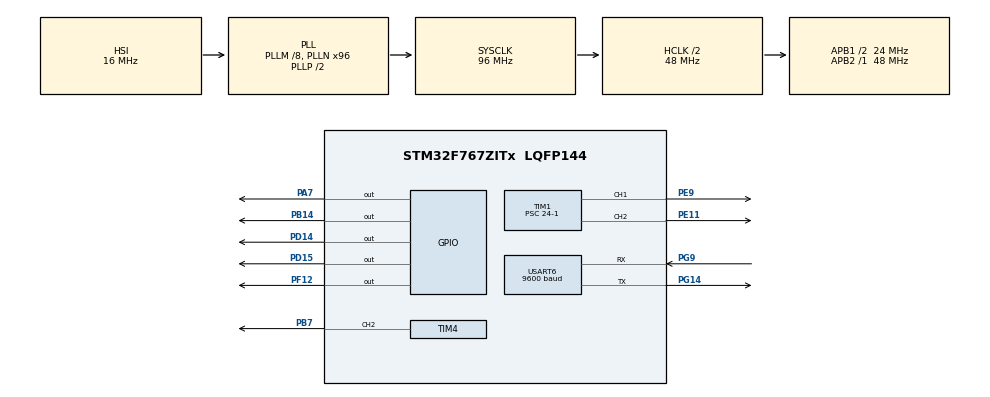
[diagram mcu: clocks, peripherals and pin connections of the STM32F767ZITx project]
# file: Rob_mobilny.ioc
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Mcu.Family=STM32F7
Mcu.Name=STM32F767ZITx
Mcu.Package=LQFP144
NVIC.PriorityGroup=NVIC_PRIORITYGROUP_4
NVIC.TIM1_CC_IRQn=true\:0\:0\:false\:false\:true\:true\:true
NVIC.TIM4_IRQn=true\:0\:0\:false\:false\:true\:true\:true
NVIC.USART6_IRQn=true\:0\:0\:false\:false\:true\:true\:true
PA7.Signal=GPIO_Output
PB14.Signal=GPIO_Output
PB7.GPIO_Speed=GPIO_SPEED_FREQ_HIGH
PB7.Signal=S_TIM4_CH2
PD14.Signal=GPIO_Output
PD15.Signal=GPIO_Output
PE11.GPIO_Speed=GPIO_SPEED_FREQ_HIGH
PE11.Signal=S_TIM1_CH2
PE9.GPIO_Speed=GPIO_SPEED_FREQ_HIGH
PE9.Signal=S_TIM1_CH1
PF12.Signal=GPIO_Output
PG14.Mode=Asynchronous
PG14.Signal=USART6_TX
PG9.Mode=Asynchronous
PG9.Signal=USART6_RX
ProjectManager.HeapSize=0x200
ProjectManager.StackSize=0x400
ProjectManager.TargetToolchain=SW4STM32
RCC.AHBCLKDivider=RCC_SYSCLK_DIV2
RCC.AHBFreq_Value=48000000
RCC.APB1CLKDivider=RCC_HCLK_DIV2
RCC.APB1Freq_Value=24000000
RCC.APB1TimFreq_Value=48000000
RCC.APB2Freq_Value=48000000
RCC.APB2TimFreq_Value=48000000
RCC.CortexFreq_Value=48000000
RCC.HCLKFreq_Value=48000000
RCC.HSE_VALUE=25000000
RCC.HSI_VALUE=16000000
RCC.LSE_VALUE=32768
RCC.PLLM=8
RCC.PLLN=96
RCC.SYSCLKFreq_VALUE=96000000
RCC.SYSCLKSource=RCC_SYSCLKSOURCE_PLLCLK
RCC.USBFreq_Value=96000000
RCC.VCOOutputFreq_Value=192000000
SH.S_TIM1_CH1.0=TIM1_CH1,PWM Generation1 CH1
SH.S_TIM1_CH2.0=TIM1_CH2,PWM Generation2 CH2
SH.S_TIM4_CH2.0=TIM4_CH2,PWM Generation2 CH2
TIM1.Channel-PWM\ Generation1\ CH1=TIM_CHANNEL_1
TIM1.Channel-PWM\ Generation2\ CH2=TIM_CHANNEL_2
TIM1.OCFastMode_PWM-PWM\ Generation1\ CH1=TIM_OCFAST_ENABLE
TIM1.OCFastMode_PWM-PWM\ Generation2\ CH2=TIM_OCFAST_ENABLE
TIM1.Period=200-1
TIM1.Prescaler=24-1
TIM4.Channel-PWM\ Generation2\ CH2=TIM_CHANNEL_2
TIM4.OCFastMode_PWM-PWM\ Generation2\ CH2=TIM_OCFAST_ENABLE
TIM4.Period=1000-1
TIM4.Prescaler=48000-1
USART6.BaudRate=9600
USART6.VirtualMode-Asynchronous=VM_ASYNC
USART6.WordLength=WORDLENGTH_8B
VP_TIM1_VS_ClockSourceINT.Mode=Internal
VP_TIM4_VS_ClockSourceINT.Mode=Internal
board=custom

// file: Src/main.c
/* USER CODE BEGIN Header */
/**
  ******************************************************************************
  * @file           : main.c
  * @brief          : Main program body
  ******************************************************************************
  * @attention
  *
  * <h2><center>&copy; Copyright (c) 2019 STMicroelectronics.
  * All rights reserved.</center></h2>
  *
  * This software component is licensed by ST under BSD 3-Clause license,
  * the "License"; You may not use this file except in compliance with the
  * License. You may obtain a copy of the License at:
  *                        opensource.org/licenses/BSD-3-Clause
  *
  ******************************************************************************
  */
/* USER CODE END Header */

#include "main.h"
#include <stdlib.h>
#include <string.h>

/* USER CODE BEGIN Includes */
#include "stm32f7xx_hal.h"
#include <stdlib.h>
#include <string.h>
#include <stdio.h>
/* USER CODE END Includes */

TIM_HandleTypeDef htim1;
TIM_HandleTypeDef htim4;

UART_HandleTypeDef huart6;

/* USER CODE BEGIN PV */
char rx_comand[10];
uint8_t rx_buff[2];
int rx_index=0;

int initper;
uint8_t LED_Pulse=50;

char flag_L_R;
char L_motor[5];
uint8_t L_elem;
char R_motor[5];
uint8_t R_elem;
int L_motor_at;
int R_motor_at;

static uint8_t i=0;

extern uint8_t LED_Pulse;
extern uint8_t LMot_Pulse;

/* USER CODE END PV */

void SystemClock_Config(void);
static void MX_GPIO_Init(void);
static void MX_GFXSIMULATOR_Init(void);
static void MX_TIM1_Init(void);
static void MX_TIM4_Init(void);
static void MX_USART6_UART_Init(void);
/* USER CODE BEGIN PFP */
void Control(int PWMLeft, int PWMRight, int init_period);

/* USER CODE END PFP */

/* USER CODE BEGIN 0 */
void HAL_TIM_PeriodElapsedCallback(TIM_HandleTypeDef*htim)
{
	if(htim->Instance==TIM4)
	{
		HAL_GPIO_TogglePin(GPIOB, GPIO_PIN_14);
	}
}

/* USER CODE END 0 */

int main(void)
{

  /* MCU Configuration--------------------------------------------------------*/

  /* Reset of all peripherals, Initializes the Flash interface and the Systick. */
  HAL_Init();

  /* Configure the system clock */
  SystemClock_Config();

  /* Initialize all configured peripherals */
  MX_GPIO_Init();
  MX_GFXSIMULATOR_Init();
  MX_TIM1_Init();
  MX_TIM4_Init();
  MX_USART6_UART_Init();
  /* USER CODE BEGIN 2 */
  HAL_TIM_Base_Start_IT(&htim1);
  HAL_TIM_Base_Start_IT(&htim4);

  HAL_TIM_PWM_Start(&htim1,TIM_CHANNEL_1);
  HAL_TIM_PWM_Start(&htim1,TIM_CHANNEL_2);
  HAL_TIM_PWM_Start(&htim4,TIM_CHANNEL_2);
  initper =htim1.Init.Period;
  HAL_UART_Receive_IT(&huart6, rx_buff, 1);

  /* USER CODE END 2 */

  /* Infinite loop */
  while (1)
  {

    /* USER CODE BEGIN 3 */
	  i++;

	  //HAL_UART_Transmit(&huart6, data1, 10,1000);
  }
  /* USER CODE END 3 */
}

void SystemClock_Config(void)
{
  RCC_OscInitTypeDef RCC_OscInitStruct = {0};
  RCC_ClkInitTypeDef RCC_ClkInitStruct = {0};
  RCC_PeriphCLKInitTypeDef PeriphClkInitStruct = {0};

  /** Configure the main internal regulator output voltage
  */
  __HAL_RCC_PWR_CLK_ENABLE();
  __HAL_PWR_VOLTAGESCALING_CONFIG(PWR_REGULATOR_VOLTAGE_SCALE3);
  /** Initializes the CPU, AHB and APB busses clocks
  */
  RCC_OscInitStruct.OscillatorType = RCC_OSCILLATORTYPE_HSI;
  RCC_OscInitStruct.HSIState = RCC_HSI_ON;
  RCC_OscInitStruct.HSICalibrationValue = RCC_HSICALIBRATION_DEFAULT;
  RCC_OscInitStruct.PLL.PLLState = RCC_PLL_ON;
  RCC_OscInitStruct.PLL.PLLSource = RCC_PLLSOURCE_HSI;
  RCC_OscInitStruct.PLL.PLLM = 8;
  RCC_OscInitStruct.PLL.PLLN = 96;
  RCC_OscInitStruct.PLL.PLLP = RCC_PLLP_DIV2;
  RCC_OscInitStruct.PLL.PLLQ = 2;
  if (HAL_RCC_OscConfig(&RCC_OscInitStruct) != HAL_OK)
  {
    Error_Handler();
  }
  /** Initializes the CPU, AHB and APB busses clocks
  */
  RCC_ClkInitStruct.ClockType = RCC_CLOCKTYPE_HCLK|RCC_CLOCKTYPE_SYSCLK
                              |RCC_CLOCKTYPE_PCLK1|RCC_CLOCKTYPE_PCLK2;
  RCC_ClkInitStruct.SYSCLKSource = RCC_SYSCLKSOURCE_PLLCLK;
  RCC_ClkInitStruct.AHBCLKDivider = RCC_SYSCLK_DIV2;
  RCC_ClkInitStruct.APB1CLKDivider = RCC_HCLK_DIV2;
  RCC_ClkInitStruct.APB2CLKDivider = RCC_HCLK_DIV1;

  if (HAL_RCC_ClockConfig(&RCC_ClkInitStruct, FLASH_LATENCY_1) != HAL_OK)
  {
    Error_Handler();
  }
  PeriphClkInitStruct.PeriphClockSelection = RCC_PERIPHCLK_USART6;
  PeriphClkInitStruct.Usart6ClockSelection = RCC_USART6CLKSOURCE_PCLK2;
  if (HAL_RCCEx_PeriphCLKConfig(&PeriphClkInitStruct) != HAL_OK)
  {
    Error_Handler();
  }
}

static void MX_GFXSIMULATOR_Init(void)
{

}

static void MX_TIM1_Init(void)
{

  TIM_ClockConfigTypeDef sClockSourceConfig = {0};
  TIM_MasterConfigTypeDef sMasterConfig = {0};
  TIM_OC_InitTypeDef sConfigOC = {0};
  TIM_BreakDeadTimeConfigTypeDef sBreakDeadTimeConfig = {0};

  htim1.Instance = TIM1;
  htim1.Init.Prescaler = 24-1;
  htim1.Init.CounterMode = TIM_COUNTERMODE_UP;
  htim1.Init.Period = 200-1;
  htim1.Init.ClockDivision = TIM_CLOCKDIVISION_DIV1;
  htim1.Init.RepetitionCounter = 0;
  htim1.Init.AutoReloadPreload = TIM_AUTORELOAD_PRELOAD_DISABLE;
  if (HAL_TIM_Base_Init(&htim1) != HAL_OK)
  {
    Error_Handler();
  }
  sClockSourceConfig.ClockSource = TIM_CLOCKSOURCE_INTERNAL;
  if (HAL_TIM_ConfigClockSource(&htim1, &sClockSourceConfig) != HAL_OK)
  {
    Error_Handler();
  }
  if (HAL_TIM_PWM_Init(&htim1) != HAL_OK)
  {
    Error_Handler();
  }
  sMasterConfig.MasterOutputTrigger = TIM_TRGO_RESET;
  sMasterConfig.MasterOutputTrigger2 = TIM_TRGO2_RESET;
  sMasterConfig.MasterSlaveMode = TIM_MASTERSLAVEMODE_DISABLE;
  if (HAL_TIMEx_MasterConfigSynchronization(&htim1, &sMasterConfig) != HAL_OK)
  {
    Error_Handler();
  }
  sConfigOC.OCMode = TIM_OCMODE_PWM1;
  sConfigOC.Pulse = 0;
  sConfigOC.OCPolarity = TIM_OCPOLARITY_HIGH;
  sConfigOC.OCNPolarity = TIM_OCNPOLARITY_HIGH;
  sConfigOC.OCFastMode = TIM_OCFAST_ENABLE;
  sConfigOC.OCIdleState = TIM_OCIDLESTATE_RESET;
  sConfigOC.OCNIdleState = TIM_OCNIDLESTATE_RESET;
  if (HAL_TIM_PWM_ConfigChannel(&htim1, &sConfigOC, TIM_CHANNEL_1) != HAL_OK)
  {
    Error_Handler();
  }
  if (HAL_TIM_PWM_ConfigChannel(&htim1, &sConfigOC, TIM_CHANNEL_2) != HAL_OK)
  {
    Error_Handler();
  }
  sBreakDeadTimeConfig.OffStateRunMode = TIM_OSSR_DISABLE;
  sBreakDeadTimeConfig.OffStateIDLEMode = TIM_OSSI_DISABLE;
  sBreakDeadTimeConfig.LockLevel = TIM_LOCKLEVEL_OFF;
  sBreakDeadTimeConfig.DeadTime = 0;
  sBreakDeadTimeConfig.BreakState = TIM_BREAK_DISABLE;
  sBreakDeadTimeConfig.BreakPolarity = TIM_BREAKPOLARITY_HIGH;
  sBreakDeadTimeConfig.BreakFilter = 0;
  sBreakDeadTimeConfig.Break2State = TIM_BREAK2_DISABLE;
  sBreakDeadTimeConfig.Break2Polarity = TIM_BREAK2POLARITY_HIGH;
  sBreakDeadTimeConfig.Break2Filter = 0;
  sBreakDeadTimeConfig.AutomaticOutput = TIM_AUTOMATICOUTPUT_DISABLE;
  if (HAL_TIMEx_ConfigBreakDeadTime(&htim1, &sBreakDeadTimeConfig) != HAL_OK)
  {
    Error_Handler();
  }
  HAL_TIM_MspPostInit(&htim1);

}

static void MX_TIM4_Init(void)
{

  TIM_ClockConfigTypeDef sClockSourceConfig = {0};
  TIM_MasterConfigTypeDef sMasterConfig = {0};
  TIM_OC_InitTypeDef sConfigOC = {0};

  htim4.Instance = TIM4;
  htim4.Init.Prescaler = 48000-1;
  htim4.Init.CounterMode = TIM_COUNTERMODE_UP;
  htim4.Init.Period = 1000-1;
  htim4.Init.ClockDivision = TIM_CLOCKDIVISION_DIV1;
  htim4.Init.AutoReloadPreload = TIM_AUTORELOAD_PRELOAD_DISABLE;
  if (HAL_TIM_Base_Init(&htim4) != HAL_OK)
  {
    Error_Handler();
  }
  sClockSourceConfig.ClockSource = TIM_CLOCKSOURCE_INTERNAL;
  if (HAL_TIM_ConfigClockSource(&htim4, &sClockSourceConfig) != HAL_OK)
  {
    Error_Handler();
  }
  if (HAL_TIM_PWM_Init(&htim4) != HAL_OK)
  {
    Error_Handler();
  }
  sMasterConfig.MasterOutputTrigger = TIM_TRGO_RESET;
  sMasterConfig.MasterSlaveMode = TIM_MASTERSLAVEMODE_DISABLE;
  if (HAL_TIMEx_MasterConfigSynchronization(&htim4, &sMasterConfig) != HAL_OK)
  {
    Error_Handler();
  }
  sConfigOC.OCMode = TIM_OCMODE_PWM1;
  sConfigOC.Pulse = 0;
  sConfigOC.OCPolarity = TIM_OCPOLARITY_HIGH;
  sConfigOC.OCFastMode = TIM_OCFAST_ENABLE;
  if (HAL_TIM_PWM_ConfigChannel(&htim4, &sConfigOC, TIM_CHANNEL_2) != HAL_OK)
  {
    Error_Handler();
  }
  HAL_TIM_MspPostInit(&htim4);

}

static void MX_USART6_UART_Init(void)
{

  huart6.Instance = USART6;
  huart6.Init.BaudRate = 9600;
  huart6.Init.WordLength = UART_WORDLENGTH_8B;
  huart6.Init.StopBits = UART_STOPBITS_1;
  huart6.Init.Parity = UART_PARITY_NONE;
  huart6.Init.Mode = UART_MODE_TX_RX;
  huart6.Init.HwFlowCtl = UART_HWCONTROL_NONE;
  huart6.Init.OverSampling = UART_OVERSAMPLING_16;
  huart6.Init.OneBitSampling = UART_ONE_BIT_SAMPLE_DISABLE;
  huart6.AdvancedInit.AdvFeatureInit = UART_ADVFEATURE_NO_INIT;
  if (HAL_UART_Init(&huart6) != HAL_OK)
  {
    Error_Handler();
  }

}

static void MX_GPIO_Init(void)
{
  GPIO_InitTypeDef GPIO_InitStruct = {0};

  /* GPIO Ports Clock Enable */
  __HAL_RCC_GPIOA_CLK_ENABLE();
  __HAL_RCC_GPIOF_CLK_ENABLE();
  __HAL_RCC_GPIOE_CLK_ENABLE();
  __HAL_RCC_GPIOB_CLK_ENABLE();
  __HAL_RCC_GPIOD_CLK_ENABLE();
  __HAL_RCC_GPIOG_CLK_ENABLE();

  /*Configure GPIO pin Output Level */
  HAL_GPIO_WritePin(GPIOA, GPIO_PIN_7, GPIO_PIN_RESET);

  /*Configure GPIO pin Output Level */
  HAL_GPIO_WritePin(GPIOF, GPIO_PIN_12, GPIO_PIN_RESET);

  /*Configure GPIO pin Output Level */
  HAL_GPIO_WritePin(GPIOB, GPIO_PIN_14, GPIO_PIN_RESET);

  /*Configure GPIO pin Output Level */
  HAL_GPIO_WritePin(GPIOD, GPIO_PIN_14|GPIO_PIN_15, GPIO_PIN_RESET);

  /*Configure GPIO pin : PA7 */
  GPIO_InitStruct.Pin = GPIO_PIN_7;
  GPIO_InitStruct.Mode = GPIO_MODE_OUTPUT_PP;
  GPIO_InitStruct.Pull = GPIO_NOPULL;
  GPIO_InitStruct.Speed = GPIO_SPEED_FREQ_LOW;
  HAL_GPIO_Init(GPIOA, &GPIO_InitStruct);

  /*Configure GPIO pin : PF12 */
  GPIO_InitStruct.Pin = GPIO_PIN_12;
  GPIO_InitStruct.Mode = GPIO_MODE_OUTPUT_PP;
  GPIO_InitStruct.Pull = GPIO_NOPULL;
  GPIO_InitStruct.Speed = GPIO_SPEED_FREQ_LOW;
  HAL_GPIO_Init(GPIOF, &GPIO_InitStruct);

  /*Configure GPIO pin : PB14 */
  GPIO_InitStruct.Pin = GPIO_PIN_14;
  GPIO_InitStruct.Mode = GPIO_MODE_OUTPUT_PP;
  GPIO_InitStruct.Pull = GPIO_NOPULL;
  GPIO_InitStruct.Speed = GPIO_SPEED_FREQ_LOW;
  HAL_GPIO_Init(GPIOB, &GPIO_InitStruct);

  /*Configure GPIO pins : PD14 PD15 */
  GPIO_InitStruct.Pin = GPIO_PIN_14|GPIO_PIN_15;
  GPIO_InitStruct.Mode = GPIO_MODE_OUTPUT_PP;
  GPIO_InitStruct.Pull = GPIO_NOPULL;
  GPIO_InitStruct.Speed = GPIO_SPEED_FREQ_LOW;
  HAL_GPIO_Init(GPIOD, &GPIO_InitStruct);

}

/* USER CODE BEGIN 4 */
void HAL_UART_RxCpltCallback(UART_HandleTypeDef *huart){

    if (huart->Instance == USART6)
    {
    	if(rx_index==0){for(i=0;i<10;i++) rx_comand[i]=0;}

    	rx_comand[rx_index] = rx_buff[0];
    	rx_index++;
   	  	if (rx_buff[0]=='e'){
   	  		for(int n=0;n<10;n++){
				if (rx_comand[n]=='L'){
					flag_L_R='L';
					memset(L_motor,0,sizeof(L_motor));
					L_elem=0;
				}
				else if (rx_comand[n]=='R'){
					flag_L_R='R';
					memset(R_motor,0,sizeof(R_motor));
					R_elem=0;
				}
				else if(rx_comand[n]=='e'){
					flag_L_R='e';
				}
				if(flag_L_R == 'L' && rx_comand[n] != 'L'){
					L_motor[L_elem] = rx_comand[n];
					L_elem++;
				}
				else if(flag_L_R == 'R' && rx_comand[n] != 'R'){
					R_motor[R_elem] = rx_comand[n];
					R_elem++;
				}
				else if(flag_L_R == 'e'){

					if(L_motor[0]=='-')L_motor_at=atoi(L_motor);
					else L_motor_at=atoi(L_motor);

					if(R_motor[0]=='-')R_motor_at=atoi(R_motor);
					else R_motor_at=atoi(R_motor);

					Control(L_motor_at,R_motor_at,initper);
					memset(L_motor,0,sizeof(L_motor));
					L_elem=0;
					memset(R_motor,0,sizeof(R_motor));
					R_elem=0;
					rx_index=0;

					flag_L_R=0;

					//char data[18];
					//uint16_t size;
					//static uint8_t cnt;
					//++cnt;
					//size = sprintf(data, "pulse na L %d.\n\r", LMot_Pulse);
					//HAL_UART_Transmit(&huart6, data, size,10);
				}
   	  		}
   	  	}

    }

    HAL_UART_Receive_IT(&huart6, rx_buff, 1);
}
/* USER CODE END 4 */

void Error_Handler(void)
{
}

/************************ (C) COPYRIGHT STMicroelectronics *****END OF FILE****/
